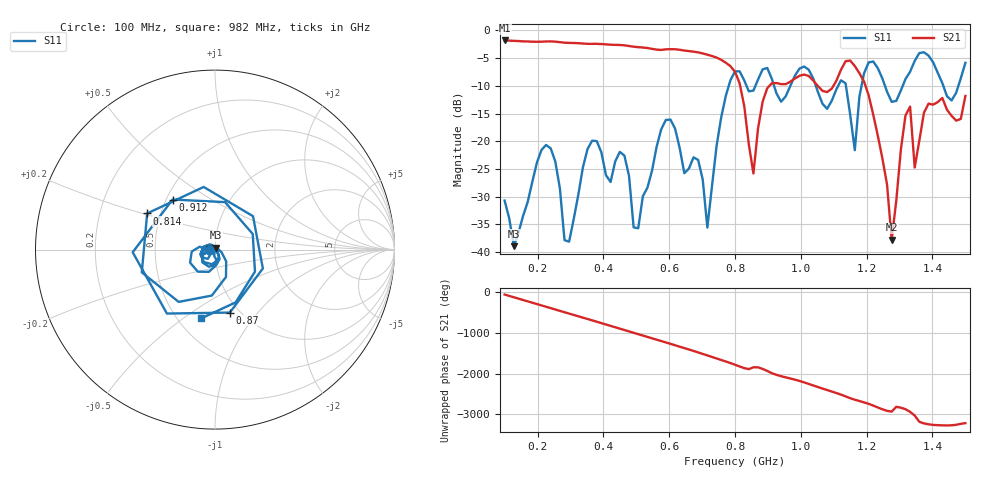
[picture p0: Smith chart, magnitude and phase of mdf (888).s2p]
! NanoVNA-App
! Date: 2025-09-25 15:45:20
! Start: 100MHz Stop: 1,5GHz Points: 101
! S-Parameter data: F S11 S21 S12 S22
# Hz S RI R 50
!  Frequency  S11_Real  S11_Imag  S21_Real  S21_Imag  S12_Real  S12_Imag  S22_Real  S22_Imag
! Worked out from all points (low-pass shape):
!   101 points, 100 MHz to 1.5 GHz, reference 50 ohm
!   highest |S21| = -1.80 dB at 100 MHz (marker M1); lowest = -37.8 dB at 1.276 GHz (marker M2)
!   |S21| within 3 dB of the highest: start of sweep to 739.6 MHz
!   lowest |S11| = -38.9 dB at 128 MHz (marker M3), VSWR 1.02, Z = 50.3 + j1.08 ohm
!   |S11| at or under -10 dB: start of sweep to 781 MHz; 918.7 MHz to 968.1 MHz (49.37 MHz wide, 5.23 % of centre); 1.045 GHz to 1.113 GHz (67.94 MHz wide, 6.29 % of centre) (the widest 3 of 7)
!   S12 and S22 are empty: the file has one direction only
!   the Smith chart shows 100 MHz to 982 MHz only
!   S11 on the Smith chart (normalised r, x): 100 MHz: 0.94, -0.01; 814 MHz: 0.42, +0.21; 870 MHz: 0.90, -0.73; 912 MHz: 0.54, +0.35; 982 MHz: 0.65, -0.59
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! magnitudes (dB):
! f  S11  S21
! 100 MHz  -30.7  -1.8
! 128 MHz  -38.9  -1.9
! 212 MHz  -21.6  -2.0
! 282 MHz  -37.9  -2.2
! 338 MHz  -24.7  -2.4
! 464 MHz  -22.6  -2.7
! 506 MHz  -35.7  -3.0
! 576 MHz  -17.8  -3.5
! 716 MHz  -35.6  -4.4
! 800 MHz  -7.4  -7.5
! 814 MHz  -7.4  -9.5
! 856 MHz  -10.8  -25.8
! 870 MHz  -8.9  -17.7
! 912 MHz  -8.7  -9.5
! 982 MHz  -8.2  -8.7
! 1.038 GHz  -8.7  -9.1
! 1.164 GHz  -21.6  -6.4
! 1.192 GHz  -7.7  -9.2
! 1.276 GHz  -12.9  -37.8
! 1.318 GHz  -8.8  -15.3
! 1.346 GHz  -5.5  -24.8
! 1.5 GHz  -5.8  -11.8
